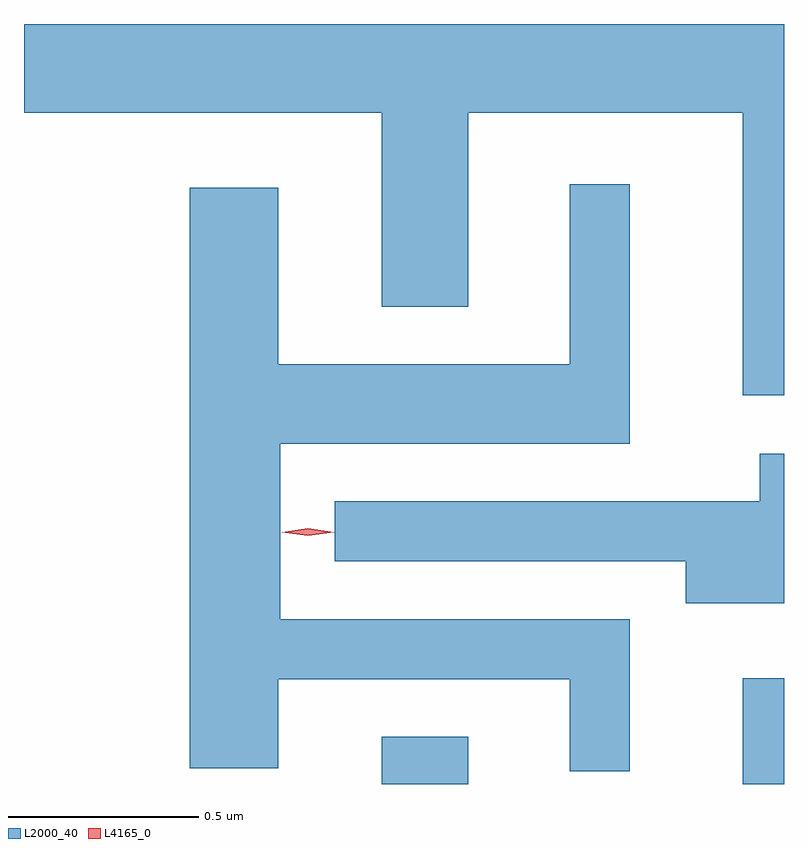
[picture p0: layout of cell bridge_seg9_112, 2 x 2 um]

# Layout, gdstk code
import gdstk
lib = gdstk.Library(unit=1e-6, precision=1e-09)
def R(c, l, rs):  # rectangles x0, y0, x1, y1
    for r in rs: c.add(gdstk.rectangle(r[:2], r[2:], *l))
def P(c, l, *ps):  # polygons
    for p in ps: c.add(gdstk.Polygon(p, *l))
L2000_40 = (2000, 40)
L4165_0 = (4165, 0)

bridge_seg9_112 = lib.new_cell('bridge_seg9_112')
R(bridge_seg9_112, L2000_40, [(1786.451,1965.63,1786.679,1965.754), (1787.401,1965.63,1787.51,1965.908)])
P(bridge_seg9_112, L2000_40, [(1787.51,1967.63),(1785.51,1967.63),(1785.51,1967.396),(1786.451,1967.396),(1786.451,1966.886),(1786.679,1966.886),(1786.679,1967.396),(1787.401,1967.396),(1787.401,1966.653),(1787.51,1966.653)],
  [(1787.104,1966.064),(1786.184,1966.064),(1786.184,1966.526),(1787.104,1966.526),(1787.104,1967.208),(1786.946,1967.208),(1786.946,1966.734),(1786.179,1966.734),(1786.179,1967.199),(1785.946,1967.199),(1785.946,1965.671),(1786.179,1965.671),(1786.179,1965.906),(1786.946,1965.906),(1786.946,1965.663),(1787.104,1965.663)],
  [(1787.51,1966.499),(1787.446,1966.499),(1787.446,1966.374),(1786.328,1966.374),(1786.328,1966.216),(1787.251,1966.216),(1787.251,1966.106),(1787.51,1966.106)])
P(bridge_seg9_112, L4165_0, [(1786.257,1966.283),(1786.188,1966.292),(1786.187,1966.293),(1786.188,1966.293),(1786.257,1966.303),(1786.326,1966.293),(1786.326,1966.293),(1786.326,1966.292)],
  [(1786.257,1966.283),(1786.191,1966.292),(1786.19,1966.293),(1786.191,1966.293),(1786.257,1966.303),(1786.322,1966.293),(1786.323,1966.293),(1786.322,1966.292)])

lib.write_gds('bridge_seg9_112.gds')
